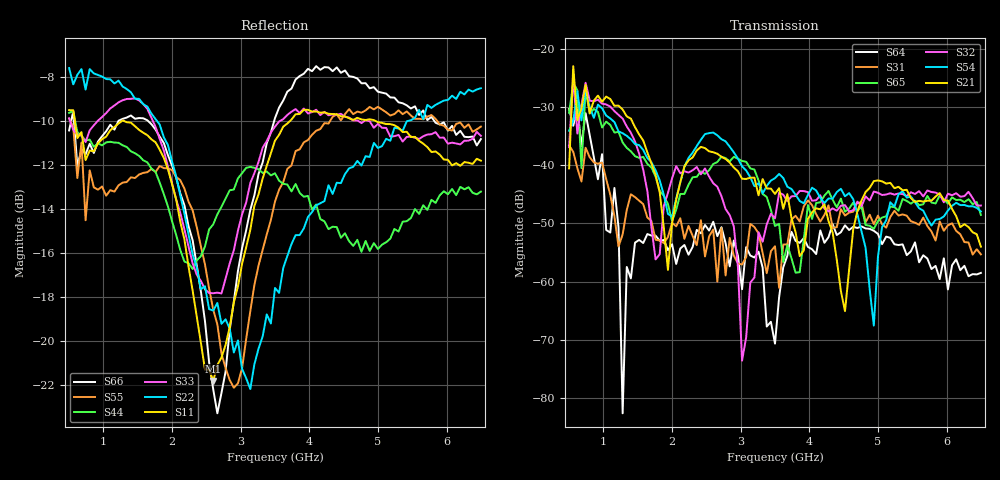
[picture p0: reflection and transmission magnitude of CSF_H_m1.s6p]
!Keysight Technologies,M9804A,MY58100912,A.14.10.03
!Date: Thursday, April 27, 2023 10:28:33
!Correction: S11(C  6-Port  )
!S12(C  6-Port  )
!S13(C  6-Port  )
!S14(C  6-Port  )
!S15(C  6-Port  )
!S16(C  6-Port  )
!S21(C  6-Port  )
!S22(C  6-Port  )
!S23(C  6-Port  )
!S24(C  6-Port  )
!S25(C  6-Port  )
!S26(C  6-Port  )
!S31(C  6-Port  )
!S32(C  6-Port  )
!S33(C  6-Port  )
!S34(C  6-Port  )
!S35(C  6-Port  )
!S36(C  6-Port  )
!S41(C  6-Port  )
!S42(C  6-Port  )
!S43(C  6-Port  )
!S44(C  6-Port  )
!S45(C  6-Port  )
!S46(C  6-Port  )
!S51(C  6-Port  )
!S52(C  6-Port  )
!S53(C  6-Port  )
!S54(C  6-Port  )
!S55(C  6-Port  )
!S56(C  6-Port  )
!S61(C  6-Port  )
!S62(C  6-Port  )
!S63(C  6-Port  )
!S64(C  6-Port  )
!S65(C  6-Port  )
!S66(C  6-Port  )
!S6P File: Measurement: :
# Hz S  RI  R 50
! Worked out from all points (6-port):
!   101 points, 500 MHz to 6.5 GHz, reference 50 ohm
!   strongest paths, dB at 500 MHz, 2 GHz, 3.5 GHz, 5 GHz, 6.5 GHz:
!     S21: -40.5, -50.0, -44.9, -42.6, -54.0
!     S54: -34.1, -48.8, -42.2, -55.7, -47.9
!     S32: -36.9, -42.3, -49.1, -44.7, -46.9
!     S65: -31.0, -49.6, -50.4, -49.6, -48.5
!     S31: -36.6, -49.9, -53.9, -48.6, -55.3
!     S64: -30.3, -53.6, -70.6, -51.8, -58.5
!   lowest |S11| = -21.8 dB at 2.6 GHz (marker M1), VSWR 1.18, Z = 42.7 + j1.92 ohm
!   |S11| at or under -10 dB: 582.5 MHz to 1.274 GHz (691.2 MHz wide, 74.5 % of centre); 1.29 GHz to 3.723 GHz (2.432 GHz wide, 97 % of centre); 4.958 GHz to end of sweep
